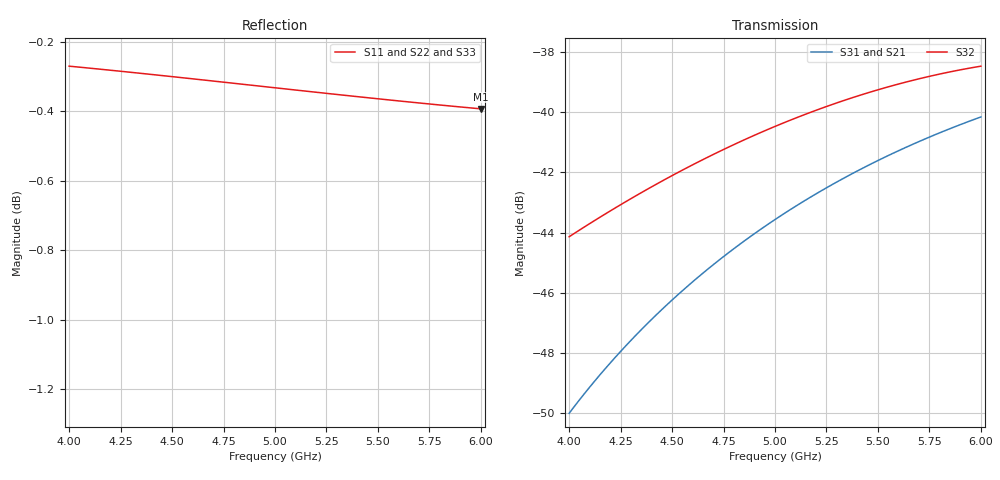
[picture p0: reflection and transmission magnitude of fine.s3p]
! yapnr rf: divider-osh-w, footprint re-simulated (refine 2)
! spec sha256 669d225bab5b9cddc49b53759a4b38011ed0340c321c26ede493b4ce416b5fbc
! 3 ports renormalized to 50 ohm, e^(+jwt) convention
# GHz S RI R 50
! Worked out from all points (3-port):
!   81 points, 4 GHz to 6 GHz, reference 50 ohm
!   strongest paths, dB at 4 GHz, 4.5 GHz, 5 GHz, 5.5 GHz, 6 GHz:
!     S32: -44.1, -42.1, -40.5, -39.2, -38.5
!     S31: -50.0, -46.2, -43.6, -41.6, -40.2
!     S21: -50.0, -46.2, -43.6, -41.6, -40.2
!   lowest |S11| = -0.4 dB at 6 GHz (marker M1), VSWR 44.24, Z = 1.54 - j30.2 ohm
!   |S11| at or under -10 dB: nowhere
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4  0.1193 -0.962  -0.00263 0.000173  -0.00263 0.000173
   -0.00315 0.00027  -0.0435 -0.9652  -0.00248 -0.0057
   -0.00315 0.00027  -0.00248 -0.0057  -0.0435 -0.9652
4.1  0.0882 -0.9647  -0.00294 0.00033  -0.00294 0.00033
     -0.00346 0.000432  -0.0837 -0.9618  -0.00319 -0.0057
     -0.00346 0.000432  -0.00319 -0.0057  -0.0837 -0.9618
4.225  0.0496 -0.9667  -0.00332 0.00057  -0.00332 0.00057
       -0.00386 0.000678  -0.1339 -0.9551  -0.00412 -0.00558
       -0.00386 0.000678  -0.00412 -0.00558  -0.1339 -0.9551
4.45  -0.0191 -0.9662  -0.00395 0.00112  -0.00395 0.00112
      -0.00453 0.00124  -0.2234 -0.9363  -0.00581 -0.00503
      -0.00453 0.00124  -0.00581 -0.00503  -0.2234 -0.9363
4.725  -0.1013 -0.9591  -0.00462 0.00201  -0.00462 0.00201
       -0.00524 0.00215  -0.3306 -0.9016  -0.00774 -0.00372
       -0.00524 0.00215  -0.00774 -0.00372  -0.3306 -0.9016
5  -0.1811 -0.9453  -0.00509 0.00309  -0.00509 0.00309
   -0.00577 0.00328  -0.434 -0.854  -0.00931 -0.00179
   -0.00577 0.00328  -0.00931 -0.00179  -0.434 -0.854
5.25  -0.2512 -0.9273  -0.0053 0.00422  -0.0053 0.00422
      -0.00602 0.00446  -0.5234 -0.8  -0.0102 0.0004
      -0.00602 0.00446  -0.0102 0.0004  -0.5234 -0.8
5.5  -0.3188 -0.9045  -0.00526 0.00542  -0.00526 0.00542
     -0.00601 0.00575  -0.6074 -0.7359  -0.0105 0.00282
     -0.00601 0.00575  -0.0105 0.00282  -0.6074 -0.7359
5.75  -0.3835 -0.8772  -0.00496 0.00666  -0.00496 0.00666
      -0.0057 0.00709  -0.6847 -0.6622  -0.0102 0.00528
      -0.0057 0.00709  -0.0102 0.00528  -0.6847 -0.6622
6  -0.4454 -0.8457  -0.00437 0.00786  -0.00437 0.00786
   -0.00508 0.00841  -0.7542 -0.5793  -0.00922 0.00758
   -0.00508 0.00841  -0.00922 0.00758  -0.7542 -0.5793
